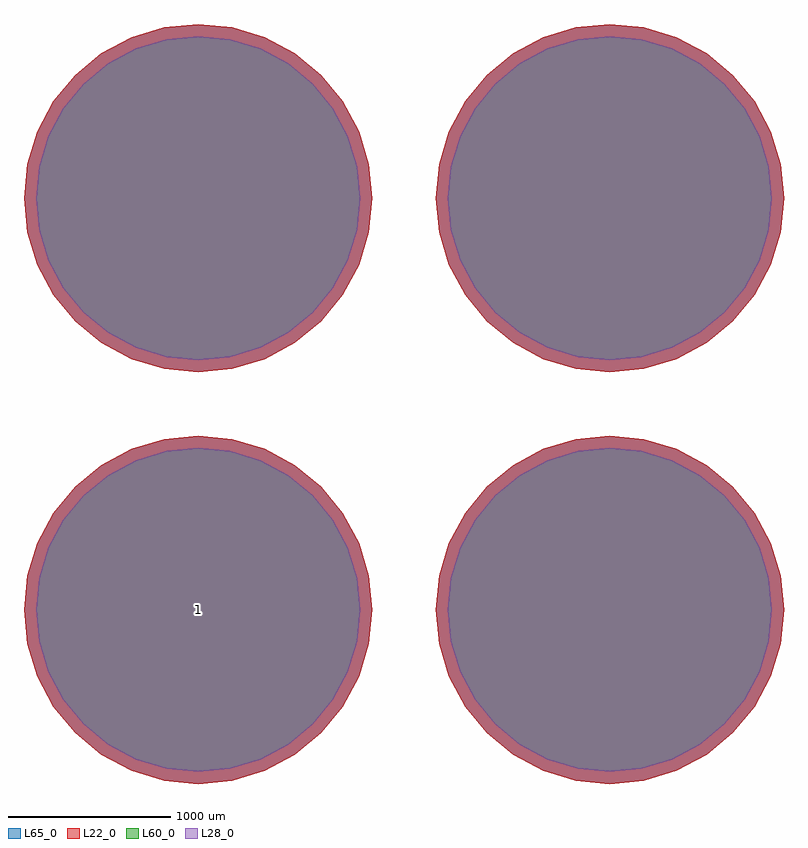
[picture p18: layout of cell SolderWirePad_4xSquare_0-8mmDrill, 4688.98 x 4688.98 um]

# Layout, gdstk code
import gdstk
lib = gdstk.Library(unit=1e-6, precision=1e-09)
def P(c, l, *ps):  # polygons
    for p in ps: c.add(gdstk.Polygon(p, *l))
L22_0 = (22, 0)
L28_0 = (28, 0)
L60_0 = (60, 0)
L65_0 = (65, 0)

solderwirepad_4xsquare_0 = lib.new_cell('SolderWirePad_4xSquare_0-8mmDrill')
P(solderwirepad_4xsquare_0, L22_0, [(2344.49,1270),(2323.844,1479.623),(2262.699,1681.19),(2163.406,1866.955),(2029.779,2029.779),(1866.955,2163.406),(1681.19,2262.699),(1479.623,2323.844),(1270,2344.49),(1060.377,2323.844),(858.81,2262.699),(673.045,2163.406),(510.221,2029.779),(376.594,1866.955),(277.301,1681.19),(216.156,1479.623),(195.51,1270),(216.156,1060.377),(277.301,858.81),(376.594,673.045),(510.221,510.221),(673.045,376.594),(858.81,277.301),(1060.377,216.156),(1270,195.51),(1479.623,216.156),(1681.19,277.301),(1866.955,376.594),(2029.779,510.221),(2163.406,673.045),(2262.699,858.81),(2323.844,1060.377)],
  [(-195.51,1270),(-216.156,1479.623),(-277.301,1681.19),(-376.594,1866.955),(-510.221,2029.779),(-673.045,2163.406),(-858.81,2262.699),(-1060.377,2323.844),(-1270,2344.49),(-1479.623,2323.844),(-1681.19,2262.699),(-1866.955,2163.406),(-2029.779,2029.779),(-2163.406,1866.955),(-2262.699,1681.19),(-2323.844,1479.623),(-2344.49,1270),(-2323.844,1060.377),(-2262.699,858.81),(-2163.406,673.045),(-2029.779,510.221),(-1866.955,376.594),(-1681.19,277.301),(-1479.623,216.156),(-1270,195.51),(-1060.377,216.156),(-858.81,277.301),(-673.045,376.594),(-510.221,510.221),(-376.594,673.045),(-277.301,858.81),(-216.156,1060.377)],
  [(2344.49,-1270),(2323.844,-1060.377),(2262.699,-858.81),(2163.406,-673.045),(2029.779,-510.221),(1866.955,-376.594),(1681.19,-277.301),(1479.623,-216.156),(1270,-195.51),(1060.377,-216.156),(858.81,-277.301),(673.045,-376.594),(510.221,-510.221),(376.594,-673.045),(277.301,-858.81),(216.156,-1060.377),(195.51,-1270),(216.156,-1479.623),(277.301,-1681.19),(376.594,-1866.955),(510.221,-2029.779),(673.045,-2163.406),(858.81,-2262.699),(1060.377,-2323.844),(1270,-2344.49),(1479.623,-2323.844),(1681.19,-2262.699),(1866.955,-2163.406),(2029.779,-2029.779),(2163.406,-1866.955),(2262.699,-1681.19),(2323.844,-1479.623)],
  [(-195.51,-1270),(-216.156,-1060.377),(-277.301,-858.81),(-376.594,-673.045),(-510.221,-510.221),(-673.045,-376.594),(-858.81,-277.301),(-1060.377,-216.156),(-1270,-195.51),(-1479.623,-216.156),(-1681.19,-277.301),(-1866.955,-376.594),(-2029.779,-510.221),(-2163.406,-673.045),(-2262.699,-858.81),(-2323.844,-1060.377),(-2344.49,-1270),(-2323.844,-1479.623),(-2262.699,-1681.19),(-2163.406,-1866.955),(-2029.779,-2029.779),(-1866.955,-2163.406),(-1681.19,-2262.699),(-1479.623,-2323.844),(-1270,-2344.49),(-1060.377,-2323.844),(-858.81,-2262.699),(-673.045,-2163.406),(-510.221,-2029.779),(-376.594,-1866.955),(-277.301,-1681.19),(-216.156,-1479.623)])
P(solderwirepad_4xsquare_0, L28_0, [(2269.49,1270),(2250.285,1464.991),(2193.408,1652.488),(2101.046,1825.287),(1976.746,1976.746),(1825.287,2101.046),(1652.488,2193.408),(1464.991,2250.285),(1270,2269.49),(1075.009,2250.285),(887.512,2193.408),(714.713,2101.046),(563.254,1976.746),(438.954,1825.287),(346.592,1652.488),(289.715,1464.991),(270.51,1270),(289.715,1075.009),(346.592,887.512),(438.954,714.713),(563.254,563.254),(714.713,438.954),(887.512,346.592),(1075.009,289.715),(1270,270.51),(1464.991,289.715),(1652.488,346.592),(1825.287,438.954),(1976.746,563.254),(2101.046,714.713),(2193.408,887.512),(2250.285,1075.009)],
  [(-270.51,1270),(-289.715,1464.991),(-346.592,1652.488),(-438.954,1825.287),(-563.254,1976.746),(-714.713,2101.046),(-887.512,2193.408),(-1075.009,2250.285),(-1270,2269.49),(-1464.991,2250.285),(-1652.488,2193.408),(-1825.287,2101.046),(-1976.746,1976.746),(-2101.046,1825.287),(-2193.408,1652.488),(-2250.285,1464.991),(-2269.49,1270),(-2250.285,1075.009),(-2193.408,887.512),(-2101.046,714.713),(-1976.746,563.254),(-1825.287,438.954),(-1652.488,346.592),(-1464.991,289.715),(-1270,270.51),(-1075.009,289.715),(-887.512,346.592),(-714.713,438.954),(-563.254,563.254),(-438.954,714.713),(-346.592,887.512),(-289.715,1075.009)],
  [(2269.49,-1270),(2250.285,-1075.009),(2193.408,-887.512),(2101.046,-714.713),(1976.746,-563.254),(1825.287,-438.954),(1652.488,-346.592),(1464.991,-289.715),(1270,-270.51),(1075.009,-289.715),(887.512,-346.592),(714.713,-438.954),(563.254,-563.254),(438.954,-714.713),(346.592,-887.512),(289.715,-1075.009),(270.51,-1270),(289.715,-1464.991),(346.592,-1652.488),(438.954,-1825.287),(563.254,-1976.746),(714.713,-2101.046),(887.512,-2193.408),(1075.009,-2250.285),(1270,-2269.49),(1464.991,-2250.285),(1652.488,-2193.408),(1825.287,-2101.046),(1976.746,-1976.746),(2101.046,-1825.287),(2193.408,-1652.488),(2250.285,-1464.991)],
  [(-270.51,-1270),(-289.715,-1075.009),(-346.592,-887.512),(-438.954,-714.713),(-563.254,-563.254),(-714.713,-438.954),(-887.512,-346.592),(-1075.009,-289.715),(-1270,-270.51),(-1464.991,-289.715),(-1652.488,-346.592),(-1825.287,-438.954),(-1976.746,-563.254),(-2101.046,-714.713),(-2193.408,-887.512),(-2250.285,-1075.009),(-2269.49,-1270),(-2250.285,-1464.991),(-2193.408,-1652.488),(-2101.046,-1825.287),(-1976.746,-1976.746),(-1825.287,-2101.046),(-1652.488,-2193.408),(-1464.991,-2250.285),(-1270,-2269.49),(-1075.009,-2250.285),(-887.512,-2193.408),(-714.713,-2101.046),(-563.254,-1976.746),(-438.954,-1825.287),(-346.592,-1652.488),(-289.715,-1464.991)])
P(solderwirepad_4xsquare_0, L60_0, [(2269.49,1270),(2250.285,1464.991),(2193.408,1652.488),(2101.046,1825.287),(1976.746,1976.746),(1825.287,2101.046),(1652.488,2193.408),(1464.991,2250.285),(1270,2269.49),(1075.009,2250.285),(887.512,2193.408),(714.713,2101.046),(563.254,1976.746),(438.954,1825.287),(346.592,1652.488),(289.715,1464.991),(270.51,1270),(289.715,1075.009),(346.592,887.512),(438.954,714.713),(563.254,563.254),(714.713,438.954),(887.512,346.592),(1075.009,289.715),(1270,270.51),(1464.991,289.715),(1652.488,346.592),(1825.287,438.954),(1976.746,563.254),(2101.046,714.713),(2193.408,887.512),(2250.285,1075.009)],
  [(-270.51,1270),(-289.715,1464.991),(-346.592,1652.488),(-438.954,1825.287),(-563.254,1976.746),(-714.713,2101.046),(-887.512,2193.408),(-1075.009,2250.285),(-1270,2269.49),(-1464.991,2250.285),(-1652.488,2193.408),(-1825.287,2101.046),(-1976.746,1976.746),(-2101.046,1825.287),(-2193.408,1652.488),(-2250.285,1464.991),(-2269.49,1270),(-2250.285,1075.009),(-2193.408,887.512),(-2101.046,714.713),(-1976.746,563.254),(-1825.287,438.954),(-1652.488,346.592),(-1464.991,289.715),(-1270,270.51),(-1075.009,289.715),(-887.512,346.592),(-714.713,438.954),(-563.254,563.254),(-438.954,714.713),(-346.592,887.512),(-289.715,1075.009)],
  [(2269.49,-1270),(2250.285,-1075.009),(2193.408,-887.512),(2101.046,-714.713),(1976.746,-563.254),(1825.287,-438.954),(1652.488,-346.592),(1464.991,-289.715),(1270,-270.51),(1075.009,-289.715),(887.512,-346.592),(714.713,-438.954),(563.254,-563.254),(438.954,-714.713),(346.592,-887.512),(289.715,-1075.009),(270.51,-1270),(289.715,-1464.991),(346.592,-1652.488),(438.954,-1825.287),(563.254,-1976.746),(714.713,-2101.046),(887.512,-2193.408),(1075.009,-2250.285),(1270,-2269.49),(1464.991,-2250.285),(1652.488,-2193.408),(1825.287,-2101.046),(1976.746,-1976.746),(2101.046,-1825.287),(2193.408,-1652.488),(2250.285,-1464.991)],
  [(-270.51,-1270),(-289.715,-1075.009),(-346.592,-887.512),(-438.954,-714.713),(-563.254,-563.254),(-714.713,-438.954),(-887.512,-346.592),(-1075.009,-289.715),(-1270,-270.51),(-1464.991,-289.715),(-1652.488,-346.592),(-1825.287,-438.954),(-1976.746,-563.254),(-2101.046,-714.713),(-2193.408,-887.512),(-2250.285,-1075.009),(-2269.49,-1270),(-2250.285,-1464.991),(-2193.408,-1652.488),(-2101.046,-1825.287),(-1976.746,-1976.746),(-1825.287,-2101.046),(-1652.488,-2193.408),(-1464.991,-2250.285),(-1270,-2269.49),(-1075.009,-2250.285),(-887.512,-2193.408),(-714.713,-2101.046),(-563.254,-1976.746),(-438.954,-1825.287),(-346.592,-1652.488),(-289.715,-1464.991)])
P(solderwirepad_4xsquare_0, L65_0, [(2344.49,1270),(2323.844,1479.623),(2262.699,1681.19),(2163.406,1866.955),(2029.779,2029.779),(1866.955,2163.406),(1681.19,2262.699),(1479.623,2323.844),(1270,2344.49),(1060.377,2323.844),(858.81,2262.699),(673.045,2163.406),(510.221,2029.779),(376.594,1866.955),(277.301,1681.19),(216.156,1479.623),(195.51,1270),(216.156,1060.377),(277.301,858.81),(376.594,673.045),(510.221,510.221),(673.045,376.594),(858.81,277.301),(1060.377,216.156),(1270,195.51),(1479.623,216.156),(1681.19,277.301),(1866.955,376.594),(2029.779,510.221),(2163.406,673.045),(2262.699,858.81),(2323.844,1060.377)],
  [(-195.51,1270),(-216.156,1479.623),(-277.301,1681.19),(-376.594,1866.955),(-510.221,2029.779),(-673.045,2163.406),(-858.81,2262.699),(-1060.377,2323.844),(-1270,2344.49),(-1479.623,2323.844),(-1681.19,2262.699),(-1866.955,2163.406),(-2029.779,2029.779),(-2163.406,1866.955),(-2262.699,1681.19),(-2323.844,1479.623),(-2344.49,1270),(-2323.844,1060.377),(-2262.699,858.81),(-2163.406,673.045),(-2029.779,510.221),(-1866.955,376.594),(-1681.19,277.301),(-1479.623,216.156),(-1270,195.51),(-1060.377,216.156),(-858.81,277.301),(-673.045,376.594),(-510.221,510.221),(-376.594,673.045),(-277.301,858.81),(-216.156,1060.377)],
  [(2344.49,-1270),(2323.844,-1060.377),(2262.699,-858.81),(2163.406,-673.045),(2029.779,-510.221),(1866.955,-376.594),(1681.19,-277.301),(1479.623,-216.156),(1270,-195.51),(1060.377,-216.156),(858.81,-277.301),(673.045,-376.594),(510.221,-510.221),(376.594,-673.045),(277.301,-858.81),(216.156,-1060.377),(195.51,-1270),(216.156,-1479.623),(277.301,-1681.19),(376.594,-1866.955),(510.221,-2029.779),(673.045,-2163.406),(858.81,-2262.699),(1060.377,-2323.844),(1270,-2344.49),(1479.623,-2323.844),(1681.19,-2262.699),(1866.955,-2163.406),(2029.779,-2029.779),(2163.406,-1866.955),(2262.699,-1681.19),(2323.844,-1479.623)],
  [(-195.51,-1270),(-216.156,-1060.377),(-277.301,-858.81),(-376.594,-673.045),(-510.221,-510.221),(-673.045,-376.594),(-858.81,-277.301),(-1060.377,-216.156),(-1270,-195.51),(-1479.623,-216.156),(-1681.19,-277.301),(-1866.955,-376.594),(-2029.779,-510.221),(-2163.406,-673.045),(-2262.699,-858.81),(-2323.844,-1060.377),(-2344.49,-1270),(-2323.844,-1479.623),(-2262.699,-1681.19),(-2163.406,-1866.955),(-2029.779,-2029.779),(-1866.955,-2163.406),(-1681.19,-2262.699),(-1479.623,-2323.844),(-1270,-2344.49),(-1060.377,-2323.844),(-858.81,-2262.699),(-673.045,-2163.406),(-510.221,-2029.779),(-376.594,-1866.955),(-277.301,-1681.19),(-216.156,-1479.623)])
solderwirepad_4xsquare_0.add(gdstk.Label('1', (-1270,-1270), layer=28, texttype=0))
solderwirepad_4xsquare_0.add(gdstk.Label('type', (0,-3810), layer=9, texttype=0))
solderwirepad_4xsquare_0.add(gdstk.Label('devicename', (0,4445), layer=9, texttype=0))

lib.write_gds('SolderWirePad_4xSquare_0-8mmDrill.gds')
